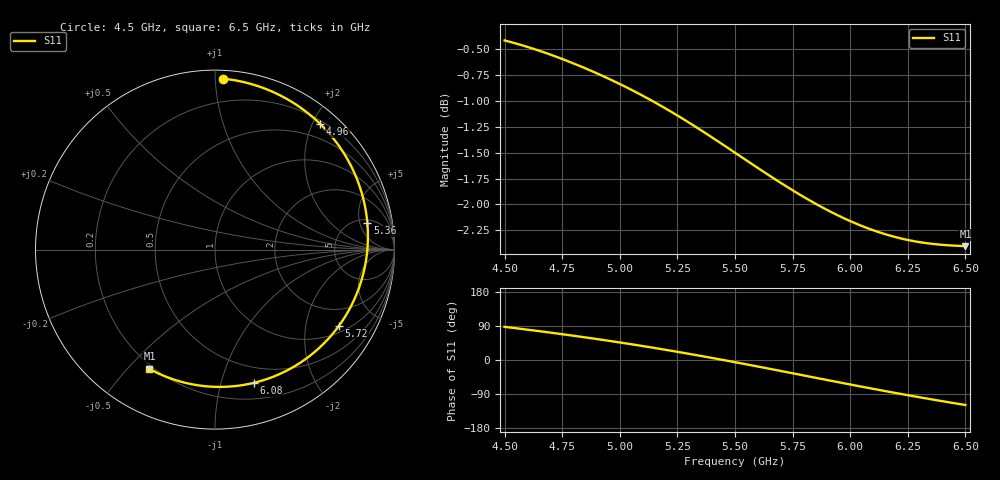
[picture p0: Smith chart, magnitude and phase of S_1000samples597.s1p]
! TOUCHSTONE file generated by CST MICROWAVE STUDIO
! Date and time: Fri Oct 28 17:35:29 2022
! Project name: L.cst
! Parameters = {Di=1.27; Epsilon_r=1.56; InnerDiameter=1.27; Length=2; Lf=10; Lg=60; OuterConductorThickness=0.2921; OuterDiameter=3.6; Wf=3; Wp=41.2; de=1.5; df=6.8; g=0.8; gx=2.26508; gy=2.65735; h=2.34; hf=1.524; px=8.81371; py=9.48682; w=9.7; wx=6.54863; wy=6.82947}
! Header version: 2018
! Port assignment regex: !\s*Touchstone port\s*([0-9]+)\s*=\s*(CST MWS port|CST DS port)\s*([0-9]+|Zmin|Zmax)\s*\(\"(.*)\"\)(\s*mode\s*([0-9]+))?.*
! Touchstone port assignment:
! Touchstone port 1 = CST MWS port 1 ("")
# GHz S DB R 50
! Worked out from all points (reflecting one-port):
!   101 points, 4.5 GHz to 6.5 GHz, reference 50 ohm
!   lowest |S11| = -2.4 dB at 6.5 GHz (marker M1), VSWR 7.27, Z = 9.22 - j28.8 ohm
!   phase of S11 starts at 87 deg and turns -206 deg over the sweep
!   S11 on the Smith chart (normalised r, x): 4.5 GHz: 0.05, +1.04; 4.96 GHz: 0.25, +2.12; 5.36 GHz: 5.78, +6.62; 5.72 GHz: 1.25, -3.09; 6.08 GHz: 0.34, -1.27; 6.5 GHz: 0.18, -0.58
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4.5  -0.41 87.5
4.58  -0.46 81.5
4.64  -0.51 76.9
4.76  -0.60 67.3
4.86  -0.69 58.8
4.96  -0.79 49.9
5  -0.84 46.3
5.06  -0.90 40.6
5.14  -1.00 32.8
5.2  -1.07 26.8
5.26  -1.15 20.6
5.36  -1.29 9.8
5.44  -1.41 1.0
5.5  -1.50 -5.8
5.6  -1.65 -17.3
5.66  -1.74 -24.4
5.72  -1.82 -31.5
5.76  -1.88 -36.2
5.82  -1.96 -43.4
5.88  -2.03 -50.5
5.94  -2.10 -57.6
6  -2.16 -64.6
6.08  -2.23 -73.9
6.16  -2.29 -82.9
6.26  -2.35 -93.9
6.32  -2.37 -100.4
6.38  -2.39 -106.6
6.5  -2.40 -118.8
